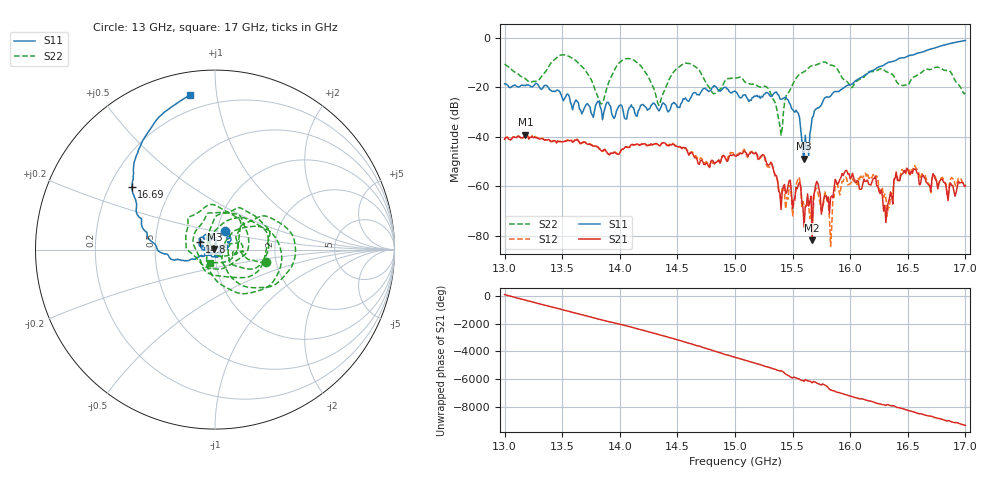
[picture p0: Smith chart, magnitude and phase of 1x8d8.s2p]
!Keysight Technologies,P9374A,MY57211807,A.19.30.04
!Date: Friday, May 08, 2026 15:17:50
!Correction: S11(C  2-Port  )
!S21(C  2-Port  )
!S12(C  2-Port  )
!S22(C  2-Port  )
!S2P File: Measurements: S11, S21, S12, S22:
# Hz S  dB  R 50
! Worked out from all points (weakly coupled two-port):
!   401 points, 13 GHz to 17 GHz, reference 50 ohm
!   highest |S21| = -39.24 dB at 13.18 GHz (marker M1); lowest = -81.7 dB at 15.67 GHz (marker M2)
!   lowest |S11| = -48.9 dB at 15.6 GHz (marker M3), VSWR 1.01, Z = 49.7 + j0.0849 ohm
!   |S11| at or under -10 dB: start of sweep to 16.33 GHz
!   |S22| runs from -39.3 to -7.0 dB; largest |S21 - S12| = 0.00085
!   S11 on the Smith chart (normalised r, x): 13 GHz: 1.10, +0.23; 14.8 GHz: 0.84, +0.08; 16.69 GHz: 0.29, +0.31; 17 GHz: 0.12, +0.85
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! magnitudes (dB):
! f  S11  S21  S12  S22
! 13 GHz  -18.7  -41.1  -41.0  -10.7
! 13.18 GHz  -19.5  -39.2  -39.4  -16.6
! 13.67 GHz  -30.8  -42.4  -42.7  -11.7
! 13.84 GHz  -29.2  -45.7  -45.7  -26.8
! 14.11 GHz  -28.2  -43.2  -43.0  -8.8
! 14.34 GHz  -29.6  -43.5  -43.6  -27.3
! 14.57 GHz  -24.4  -44.5  -44.4  -10.3
! 14.8 GHz  -20.3  -49.5  -50.3  -22.0
! 15 GHz  -21.6  -47.7  -47.0  -16.2
! 15.28 GHz  -22.2  -51.3  -52.1  -20.1
! 15.39 GHz  -24.8  -62.9  -63.2  -35.8
! 15.55 GHz  -30.6  -59.4  -56.4  -15.2
! 15.6 GHz  -48.9  -76.5  -67.7  -13.7
! 15.67 GHz  -32.3  -81.7  -74.4  -11.3
! 15.71 GHz  -28.6  -58.0  -60.8  -10.9
! 15.83 GHz  -23.7  -64.5  -84.1  -11.1
! 15.88 GHz  -21.8  -58.1  -58.8  -12.3
! 16.13 GHz  -15.1  -58.1  -54.8  -15.3
! 16.34 GHz  -9.9  -65.0  -68.4  -14.3
! 16.46 GHz  -8.2  -54.6  -53.8  -19.4
! 16.69 GHz  -4.7  -59.6  -59.7  -12.9
! 17 GHz  -1.2  -59.7  -60.3  -22.3
